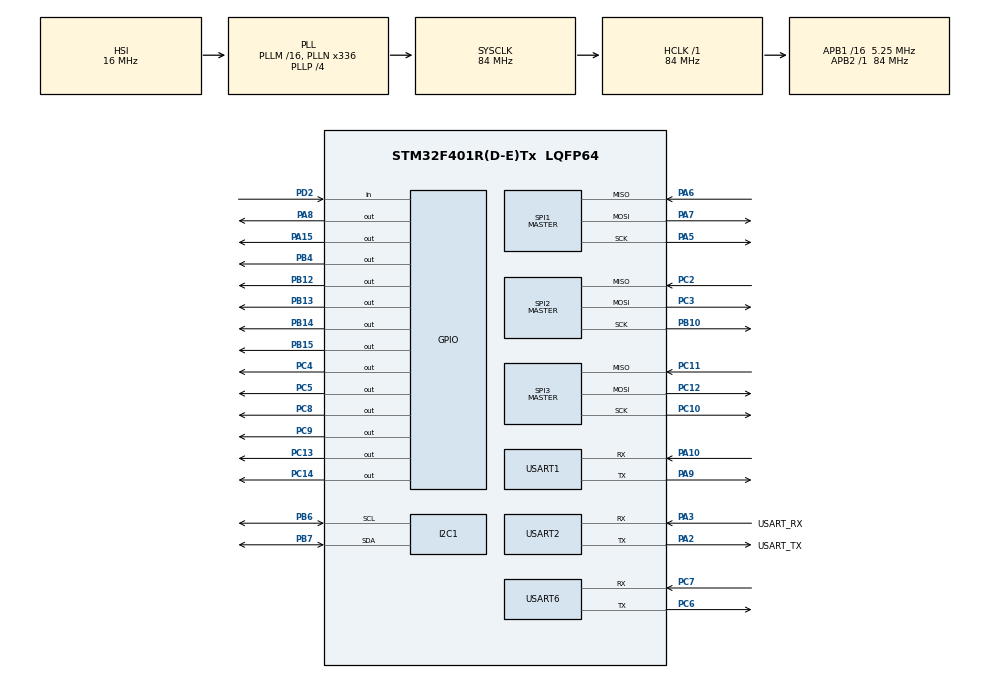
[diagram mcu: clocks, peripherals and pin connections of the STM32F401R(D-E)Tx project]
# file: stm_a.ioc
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Mcu.Family=STM32F4
Mcu.Name=STM32F401R(D-E)Tx
Mcu.Package=LQFP64
NVIC.PriorityGroup=NVIC_PRIORITYGROUP_0
NVIC.TIM2_IRQn=true\:0\:0\:false\:false\:true
NVIC.TIM5_IRQn=true\:0\:0\:false\:false\:true
PA10.Mode=Asynchronous
PA10.Signal=USART1_RX
PA13.GPIO_Label=TMS
PA13.Signal=SYS_JTMS-SWDIO
PA14.GPIO_Label=TCK
PA14.Signal=SYS_JTCK-SWCLK
PA15.Signal=GPIO_Output
PA2.GPIO_Label=USART_TX
PA2.GPIO_Mode=GPIO_MODE_AF_PP
PA2.GPIO_PuPd=GPIO_NOPULL
PA2.GPIO_Speed=GPIO_SPEED_FREQ_LOW
PA2.Mode=Asynchronous
PA2.Signal=USART2_TX
PA3.GPIO_Label=USART_RX
PA3.GPIO_Mode=GPIO_MODE_AF_PP
PA3.GPIO_PuPd=GPIO_NOPULL
PA3.GPIO_Speed=GPIO_SPEED_FREQ_LOW
PA3.Mode=Asynchronous
PA3.Signal=USART2_RX
PA5.Mode=Full_Duplex_Master
PA5.Signal=SPI1_SCK
PA6.Mode=Full_Duplex_Master
PA6.Signal=SPI1_MISO
PA7.Mode=Full_Duplex_Master
PA7.Signal=SPI1_MOSI
PA8.Signal=GPIO_Output
PA9.Mode=Asynchronous
PA9.Signal=USART1_TX
PB10.Mode=Full_Duplex_Master
PB10.Signal=SPI2_SCK
PB12.Signal=GPIO_Output
PB13.Signal=GPIO_Output
PB14.Signal=GPIO_Output
PB15.Signal=GPIO_Output
PB3.GPIO_Label=SWO
PB3.Signal=SYS_JTDO-SWO
PB4.Signal=GPIO_Output
PB6.Mode=I2C
PB6.Signal=I2C1_SCL
PB7.Mode=I2C
PB7.Signal=I2C1_SDA
PC10.Mode=Full_Duplex_Master
PC10.Signal=SPI3_SCK
PC11.Mode=Full_Duplex_Master
PC11.Signal=SPI3_MISO
PC12.Mode=Full_Duplex_Master
PC12.Signal=SPI3_MOSI
PC13-ANTI_TAMP.Signal=GPIO_Output
PC14-OSC32_IN.Signal=GPIO_Output
PC15-OSC32_OUT.Signal=RCC_OSC32_OUT
PC2.Mode=Full_Duplex_Master
PC2.Signal=SPI2_MISO
PC3.Mode=Full_Duplex_Master
PC3.Signal=SPI2_MOSI
PC4.Signal=GPIO_Output
PC5.Signal=GPIO_Output
PC6.Mode=Asynchronous
PC6.Signal=USART6_TX
PC7.Mode=Asynchronous
PC7.Signal=USART6_RX
PC8.Signal=GPIO_Output
PC9.Signal=GPIO_Output
PD2.Signal=GPIO_Input
PH0\ -\ OSC_IN.Signal=RCC_OSC_IN
PH1\ -\ OSC_OUT.Signal=RCC_OSC_OUT
ProjectManager.HeapSize=0x200
ProjectManager.StackSize=0x400
ProjectManager.TargetToolchain=SW4STM32
RCC.AHBFreq_Value=84000000
RCC.APB1CLKDivider=RCC_HCLK_DIV16
RCC.APB1Freq_Value=5250000
RCC.APB1TimFreq_Value=10500000
RCC.APB2Freq_Value=84000000
RCC.APB2TimFreq_Value=84000000
RCC.CortexFreq_Value=84000000
RCC.HCLKFreq_Value=84000000
RCC.HSE_VALUE=8000000
RCC.HSI_VALUE=16000000
RCC.LSE_VALUE=32768
RCC.PLLN=336
RCC.PLLP=RCC_PLLP_DIV4
RCC.PLLQ=7
RCC.SYSCLKFreq_VALUE=84000000
RCC.SYSCLKSource=RCC_SYSCLKSOURCE_PLLCLK
RCC.VCOOutputFreq_Value=336000000
SPI1.Direction=SPI_DIRECTION_2LINES
SPI1.Mode=SPI_MODE_MASTER
SPI1.VirtualType=VM_MASTER
SPI2.Direction=SPI_DIRECTION_2LINES
SPI2.Mode=SPI_MODE_MASTER
SPI2.VirtualType=VM_MASTER
SPI3.Direction=SPI_DIRECTION_2LINES
SPI3.Mode=SPI_MODE_MASTER
SPI3.VirtualType=VM_MASTER
TIM2.Period=9613
TIM2.Prescaler=65534
TIM5.Period=9613
TIM5.Prescaler=65534
USART1.VirtualMode=VM_ASYNC
USART2.VirtualMode=VM_ASYNC
USART6.VirtualMode=VM_ASYNC
VP_TIM2_VS_ClockSourceINT.Mode=Internal
VP_TIM5_VS_ClockSourceINT.Mode=Internal
board=NUCLEO-F401RE

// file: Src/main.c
/**
  ******************************************************************************
  * File Name          : main.c
  * Description        : Main program body
  ******************************************************************************
  ** This notice applies to any and all portions of this file
  * that are not between comment pairs USER CODE BEGIN and
  * USER CODE END. Other portions of this file, whether
  * inserted by the user or by software development tools
  * are owned by their respective copyright owners.
  *
  * COPYRIGHT(c) 2018 STMicroelectronics
  *
  * Redistribution and use in source and binary forms, with or without modification,
  * are permitted provided that the following conditions are met:
  *   1. Redistributions of source code must retain the above copyright notice,
  *      this list of conditions and the following disclaimer.
  *   2. Redistributions in binary form must reproduce the above copyright notice,
  *      this list of conditions and the following disclaimer in the documentation
  *      and/or other materials provided with the distribution.
  *   3. Neither the name of STMicroelectronics nor the names of its contributors
  *      may be used to endorse or promote products derived from this software
  *      without specific prior written permission.
  *
  * THIS SOFTWARE IS PROVIDED BY THE COPYRIGHT HOLDERS AND CONTRIBUTORS "AS IS"
  * AND ANY EXPRESS OR IMPLIED WARRANTIES, INCLUDING, BUT NOT LIMITED TO, THE
  * IMPLIED WARRANTIES OF MERCHANTABILITY AND FITNESS FOR A PARTICULAR PURPOSE ARE
  * DISCLAIMED. IN NO EVENT SHALL THE COPYRIGHT HOLDER OR CONTRIBUTORS BE LIABLE
  * FOR ANY DIRECT, INDIRECT, INCIDENTAL, SPECIAL, EXEMPLARY, OR CONSEQUENTIAL
  * DAMAGES (INCLUDING, BUT NOT LIMITED TO, PROCUREMENT OF SUBSTITUTE GOODS OR
  * SERVICES; LOSS OF USE, DATA, OR PROFITS; OR BUSINESS INTERRUPTION) HOWEVER
  * CAUSED AND ON ANY THEORY OF LIABILITY, WHETHER IN CONTRACT, STRICT LIABILITY,
  * OR TORT (INCLUDING NEGLIGENCE OR OTHERWISE) ARISING IN ANY WAY OUT OF THE USE
  * OF THIS SOFTWARE, EVEN IF ADVISED OF THE POSSIBILITY OF SUCH DAMAGE.
  *
  ******************************************************************************
  */
#include "main.h"
#include "stm32f4xx_hal.h"
#include "a_comparison.h"
#include "comms.h"
#include "payload.h"
#include "eps.h"
#include <stdlib.h>

I2C_HandleTypeDef hi2c1;

SPI_HandleTypeDef hspi1;
SPI_HandleTypeDef hspi2;
SPI_HandleTypeDef hspi3;

TIM_HandleTypeDef htim2; //Ground timer
TIM_HandleTypeDef htim5; //Picture timer

UART_HandleTypeDef huart1;
UART_HandleTypeDef huart2;
UART_HandleTypeDef huart6;

/* USER CODE BEGIN PV */
/* Private variables ---------------------------------------------------------*/
#define BUS_FREQUENCY 10500000
#define PRESCALER 65534

#define ONDELAY 500

struct tempBuffers {
	uint8_t telemEPS;
	uint8_t telemEPS_lastIndex;

	uint8_t telemADCS;
	uint8_t telemADCS_lastIndex;

	uint8_t telemPayload;
	uint8_t telemPayload_lastIndex;

	uint8_t telemComms;
	uint8_t telemComms_lastIndex;

	uint8_t codeNavigation;
} tempBuffers;
int volatile payloadOn = 0;

/* USER CODE END PV */

void SystemClock_Config(void);
static void MX_GPIO_Init(void);
static void MX_SPI2_Init(void);
static void MX_SPI3_Init(void);
static void MX_SPI1_Init(void);
static void MX_I2C1_Init(void);
static void MX_USART2_UART_Init(void);
static void MX_USART1_UART_Init(void);
static void MX_USART6_UART_Init(void);
static void MX_TIM2_Init(void);
static void MX_TIM5_Init(void);

/* USER CODE BEGIN PFP */
/* Private function prototypes -----------------------------------------------*/
void sendPacketToComms(uint8_t adr, uint8_t flg, uint8_t *data, uint8_t packetLen);
void seconds_to_timer_period(uint16_t seconds, int timer);
void MX_TIM2_Change_Period(int period);
void MX_TIM5_Change_Period(int period);
/* USER CODE END PFP */

int main(void)
{

	/* MCU Configuration----------------------------------------------------------*/

	/* Reset of all peripherals, Initializes the Flash interface and the Systick. */
	HAL_Init();

	/* Configure the system clock */
	SystemClock_Config();

	/* Initialize all configured peripherals */
	MX_GPIO_Init();
	MX_SPI2_Init();
	MX_SPI3_Init();
	MX_SPI1_Init();
	MX_I2C1_Init();
	MX_USART2_UART_Init();
	MX_USART1_UART_Init();
	MX_USART6_UART_Init();
	MX_TIM2_Init();
	MX_TIM5_Init();

	/* USER CODE BEGIN 2 */
	//COMMS Related Variables
	uint8_t *buf = malloc(PACKET_SIZE);
	uint8_t adr = 0;
	uint8_t flg = 0;
	uint8_t len_command = 0;
	uint8_t commandLength = 0;

	//Payload Related Variables
	commandQue = initQueue(commandQue);
	errors = initQueue(errors);

	uint16_t time_until_picture;
	uint8_t data[16];
	char commandPayload[30];

	printStringToConsole("CDH Start\n\n");

	/* USER CODE END 2 */

	/* Over Ground loop*/
	for (int i = 0; i < 3; i++) {
		clearArray(buf, 256);
		memset((char*)data,'\0',sizeof(data));

		//Check receive packet
		commandLength = receive_packet(buf, data);

		printStringToConsole("Uplink packet received\n");
		if(parse_packet(buf, &adr, &flg, &len_command)) {
			printStringToConsole("Uplink packet was parsed\n");

			switch(adr) {

			case 0x00: //CDH Command
				break;

			case 0x01: //Payload Command
				if(flg == 0) {
					switch(len_command) {
					case 0x00:
						printStringToConsole("Take picture command received\n");

						//time_until_picture = ((uint16_t)data[0] * 256) + (uint16_t)data[1]; //in seconds
						//seconds_to_timer_period(time_until_picture, 5);

						//Add take picture command to payload queue
						enqueue(createMessage(TAKE_PHOTO, 16, (data)), commandQue);
						break;

					case 0x01:
						printStringToConsole("Execute script command received\n");

						strcpy(commandPayload, "exec/identify_fire ");
						strcpy(commandPayload + 19, data);

						printStringToConsole(commandPayload);
						printStringToConsole("\n");

						enqueue(createMessage(EXECUTE_COMMAND, strlen(commandPayload), (uint8_t *)commandPayload), commandQue);
						break;

					case 0x02:
						printStringToConsole("File download command received\n");

						strcpy(commandPayload, "output/");
						strcpy(commandPayload + 7, data);

						if(data[8] == 0)
							strcpy(commandPayload + 15, ".txt");
						else
							strcpy(commandPayload + 15, ".jpg");

						printStringToConsole(commandPayload);
						printStringToConsole("\n");

						enqueue(createMessage(START_DOWNLOAD, strlen(commandPayload), (uint8_t*)commandPayload), commandQue);
						break;
					}
				}
				break;

			case 0x02: //ADCS Command
				break;

			case 0x03: //EPS Command
				break;
			}
		}
	}

/*	uint64_t photoTime = 500000;
	uint8_t *tempTime = (uint8_t*) &photoTime;
	char photoID[] = "000fire0";

	for(int i = 0;i<8;i++)
		commandPayload[i] = tempTime[i];
	strcpy(commandPayload +8, photoID);

	enqueue(createMessage(TAKE_PHOTO, 16, (uint8_t*)commandPayload), commandQue);
*/
/*	strcpy(commandPayload, "exec/identify_fire 000fire0");
	enqueue(createMessage(EXECUTE_COMMAND, 27, (uint8_t *)commandPayload), commandQue);
	free(commandPayload);

*/

	/*strcpy(commandPayload, "output/000fire0.jpg");
	enqueue(createMessage(START_DOWNLOAD, strlen(commandPayload), (uint8_t*)commandPayload), commandQue);
*/
	//Payload command loop (while not above ground)
	while (1) {
		/* Check if command queue is empty */
		if(commandQue->numMessages > 0)
			command = peekQueue(commandQue);
		else{
			printStringToConsole("\nAll payload commands complete\n");
			HAL_Delay(1000); // Empty command queue - exit loop
			break;
		}

		/* Save message details */
		uint8_t comcode = command->code;
		uint16_t datalen = command->payloadLen;

		/* Send Header -----------------*/
		sendmHeader(command);
		printStringToConsole("Sent command to payload\n");

		/* Send Data ----------------*/
		if(datalen > 0) {
			sendData(command->payload, datalen);
			printStringToConsole("Sent data to payload\n");
		}

		/* Command-Specific Response Handling --------------------*/
		// Receive reply -> Parse Reply -> Handle Errors -> Dequeue message
		uint8_t reply;
		uint8_t header[2];
		uint8_t packetData[256];
		switch(comcode){
			reply = 2;
			case START_DOWNLOAD:
				// Receive and parse success/error
				while(HAL_UART_Receive(&huart6, &reply, 1, RX_DELAY) != HAL_OK);

				if(handleError(errors, command, &reply))
					break;

				printStringToConsole("Successfully started download\n");

				enqueue(createMessage(REQUEST_PACKET, 0, (uint8_t*)&reply), commandQue);
				printStringToConsole("Enqueue first packet\n\n");
				break;

			case REQUEST_PACKET:
				while(HAL_UART_Receive(&huart6, &reply, 1, RX_DELAY) != HAL_OK);

				if(reply == 0 || reply == 1) {
					// If no error, parse packet length and receive the packet
					while(HAL_UART_Receive(&huart6, header, 2, RX_DELAY) != HAL_OK);
					HAL_UART_Receive(&huart6, packetData, header[1], RX_DELAY);

					printStringToConsole("One packet downloaded\n");

					// Save data
					sendPacketToComms(0x01, 0x02, data, header[1]);

					enqueue(createMessage(REQUEST_PACKET, 0, (uint8_t*)&reply), commandQue);
					printStringToConsole("Enqueue next packet\n\n");
				} else if(reply == 7) {
					printStringToConsole("Download Complete!\n");
					break;
				} else {
					handleError(errors, command, &reply);
					char temp[5];
					itoa(reply, temp,10);
					printStringToConsole(temp);
				}
				break;

			case START_UPLOAD:
				while(HAL_UART_Receive(&huart6, &reply, 1, RX_DELAY) != HAL_OK);
				if(handleError(errors, command, &reply))
				  break;
				// Refresh upload index to match start of the file
				upload_index = 0;
				printStringToConsole("Successfully started upload\n");
				break;

			case SEND_PACKET:
				while(HAL_UART_Receive(&huart6, &reply, 1, RX_DELAY) != HAL_OK);
			    if(handleError(errors, command, &reply))
				    break;
			    else // If no error, increment index of file being read (track progress of reading)
				    upload_index += datalen;
			    printStringToConsole("One packet uploaded\n");
			    break;

			case CANCEL_UPLOAD:
				while(HAL_UART_Receive(&huart6, &reply, 1, RX_DELAY) != HAL_OK);
			  	handleError(errors, command, &reply);
			  	break;

			case FINALIZE_UPLOAD:
				while(HAL_UART_Receive(&huart6, &reply, 1, RX_DELAY) != HAL_OK);
				break;

			case TAKE_PHOTO:
				while(HAL_UART_Receive(&huart6, &reply, 1, RX_DELAY) != HAL_OK);
				if(handleError(errors, command, &reply))
					break;
				printStringToConsole("Photo taken\n");
				break;

			case EXECUTE_COMMAND:
				while(HAL_UART_Receive(&huart6, &reply, 1, RX_DELAY) != HAL_OK);
				if(handleError(errors, command, &reply))
					break;

				printStringToConsole("Execute script command\n");
				break;
		}
		dequeue(commandQue);
		HAL_Delay(COMMAND_DELAY);
	}

	/* USER CODE END 3 */
}

void sendPacketToComms(uint8_t adr, uint8_t flg, uint8_t *data, uint8_t packetLen) {
	uint8_t header = 0b01100000 | (adr << 1) | flg;
	uint8_t packetToSend[PACKET_SIZE];
	packetToSend[0] = header;
	packetToSend[1] = packetLen;

	for(int i = 0; i < packetLen; i++) {
		packetToSend[i+2] = data[i];
	}

	HAL_UART_Transmit(&huart1, packetToSend, packetLen+2, 0x0FFF);
	printStringToConsole("Downlink packet sent\n");
}

/** System Clock Configuration
*/
void SystemClock_Config(void)
{

	RCC_OscInitTypeDef RCC_OscInitStruct;
	RCC_ClkInitTypeDef RCC_ClkInitStruct;

	/**Configure the main internal regulator output voltage
	*/
	__HAL_RCC_PWR_CLK_ENABLE();

	__HAL_PWR_VOLTAGESCALING_CONFIG(PWR_REGULATOR_VOLTAGE_SCALE2);

	/**Initializes the CPU, AHB and APB busses clocks
	*/
	RCC_OscInitStruct.OscillatorType = RCC_OSCILLATORTYPE_HSI;
	RCC_OscInitStruct.HSIState = RCC_HSI_ON;
	RCC_OscInitStruct.HSICalibrationValue = 16;
	RCC_OscInitStruct.PLL.PLLState = RCC_PLL_ON;
	RCC_OscInitStruct.PLL.PLLSource = RCC_PLLSOURCE_HSI;
	RCC_OscInitStruct.PLL.PLLM = 16;
	RCC_OscInitStruct.PLL.PLLN = 336;
	RCC_OscInitStruct.PLL.PLLP = RCC_PLLP_DIV4;
	RCC_OscInitStruct.PLL.PLLQ = 7;
	if (HAL_RCC_OscConfig(&RCC_OscInitStruct) != HAL_OK)
	{
	_Error_Handler(__FILE__, __LINE__);
	}

	/**Initializes the CPU, AHB and APB busses clocks
	*/
	RCC_ClkInitStruct.ClockType = RCC_CLOCKTYPE_HCLK|RCC_CLOCKTYPE_SYSCLK
							  |RCC_CLOCKTYPE_PCLK1|RCC_CLOCKTYPE_PCLK2;
	RCC_ClkInitStruct.SYSCLKSource = RCC_SYSCLKSOURCE_PLLCLK;
	RCC_ClkInitStruct.AHBCLKDivider = RCC_SYSCLK_DIV1;
	RCC_ClkInitStruct.APB1CLKDivider = RCC_HCLK_DIV16;
	RCC_ClkInitStruct.APB2CLKDivider = RCC_HCLK_DIV1;

	if (HAL_RCC_ClockConfig(&RCC_ClkInitStruct, FLASH_LATENCY_2) != HAL_OK)
	{
	_Error_Handler(__FILE__, __LINE__);
	}

	/**Configure the Systick interrupt time
	*/
	HAL_SYSTICK_Config(HAL_RCC_GetHCLKFreq()/1000);

	/**Configure the Systick
	*/
	HAL_SYSTICK_CLKSourceConfig(SYSTICK_CLKSOURCE_HCLK);

	/* SysTick_IRQn interrupt configuration */
	HAL_NVIC_SetPriority(SysTick_IRQn, 0, 0);
}

/* I2C1 init function */
static void MX_I2C1_Init(void)
{

	hi2c1.Instance = I2C1;
	hi2c1.Init.ClockSpeed = 100000;
	hi2c1.Init.DutyCycle = I2C_DUTYCYCLE_2;
	hi2c1.Init.OwnAddress1 = 0;
	hi2c1.Init.AddressingMode = I2C_ADDRESSINGMODE_7BIT;
	hi2c1.Init.DualAddressMode = I2C_DUALADDRESS_DISABLE;
	hi2c1.Init.OwnAddress2 = 0;
	hi2c1.Init.GeneralCallMode = I2C_GENERALCALL_DISABLE;
	hi2c1.Init.NoStretchMode = I2C_NOSTRETCH_DISABLE;
	if (HAL_I2C_Init(&hi2c1) != HAL_OK)
	{
	_Error_Handler(__FILE__, __LINE__);
	}

}

/* SPI1 init function */
static void MX_SPI1_Init(void)
{

	hspi1.Instance = SPI1;
	hspi1.Init.Mode = SPI_MODE_MASTER;
	hspi1.Init.Direction = SPI_DIRECTION_2LINES;
	hspi1.Init.DataSize = SPI_DATASIZE_8BIT;
	hspi1.Init.CLKPolarity = SPI_POLARITY_LOW;
	hspi1.Init.CLKPhase = SPI_PHASE_1EDGE;
	hspi1.Init.NSS = SPI_NSS_SOFT;
	hspi1.Init.BaudRatePrescaler = SPI_BAUDRATEPRESCALER_2;
	hspi1.Init.FirstBit = SPI_FIRSTBIT_MSB;
	hspi1.Init.TIMode = SPI_TIMODE_DISABLE;
	hspi1.Init.CRCCalculation = SPI_CRCCALCULATION_DISABLE;
	hspi1.Init.CRCPolynomial = 10;
	if (HAL_SPI_Init(&hspi1) != HAL_OK)
	{
	_Error_Handler(__FILE__, __LINE__);
	}

}

/* SPI2 init function */
static void MX_SPI2_Init(void)
{

	hspi2.Instance = SPI2;
	hspi2.Init.Mode = SPI_MODE_MASTER;
	hspi2.Init.Direction = SPI_DIRECTION_2LINES;
	hspi2.Init.DataSize = SPI_DATASIZE_8BIT;
	hspi2.Init.CLKPolarity = SPI_POLARITY_LOW;
	hspi2.Init.CLKPhase = SPI_PHASE_1EDGE;
	hspi2.Init.NSS = SPI_NSS_SOFT;
	hspi2.Init.BaudRatePrescaler = SPI_BAUDRATEPRESCALER_2;
	hspi2.Init.FirstBit = SPI_FIRSTBIT_MSB;
	hspi2.Init.TIMode = SPI_TIMODE_DISABLE;
	hspi2.Init.CRCCalculation = SPI_CRCCALCULATION_DISABLE;
	hspi2.Init.CRCPolynomial = 10;
	if (HAL_SPI_Init(&hspi2) != HAL_OK)
	{
	_Error_Handler(__FILE__, __LINE__);
	}

}

/* SPI3 init function */
static void MX_SPI3_Init(void)
{

	hspi3.Instance = SPI3;
	hspi3.Init.Mode = SPI_MODE_MASTER;
	hspi3.Init.Direction = SPI_DIRECTION_2LINES;
	hspi3.Init.DataSize = SPI_DATASIZE_8BIT;
	hspi3.Init.CLKPolarity = SPI_POLARITY_LOW;
	hspi3.Init.CLKPhase = SPI_PHASE_1EDGE;
	hspi3.Init.NSS = SPI_NSS_SOFT;
	hspi3.Init.BaudRatePrescaler = SPI_BAUDRATEPRESCALER_2;
	hspi3.Init.FirstBit = SPI_FIRSTBIT_MSB;
	hspi3.Init.TIMode = SPI_TIMODE_DISABLE;
	hspi3.Init.CRCCalculation = SPI_CRCCALCULATION_DISABLE;
	hspi3.Init.CRCPolynomial = 10;
	if (HAL_SPI_Init(&hspi3) != HAL_OK)
	{
	_Error_Handler(__FILE__, __LINE__);
	}

}

/* TIM2 init function */
static void MX_TIM2_Init(void)
{

  TIM_ClockConfigTypeDef sClockSourceConfig;
  TIM_MasterConfigTypeDef sMasterConfig;

  htim2.Instance = TIM2;
  htim2.Init.Prescaler = 65534;
  htim2.Init.CounterMode = TIM_COUNTERMODE_UP;
  htim2.Init.Period = 9613;						//Default timer time is 1min
  htim2.Init.ClockDivision = TIM_CLOCKDIVISION_DIV1;
  if (HAL_TIM_Base_Init(&htim2) != HAL_OK)
  {
    _Error_Handler(__FILE__, __LINE__);
  }

  sClockSourceConfig.ClockSource = TIM_CLOCKSOURCE_INTERNAL;
  if (HAL_TIM_ConfigClockSource(&htim2, &sClockSourceConfig) != HAL_OK)
  {
    _Error_Handler(__FILE__, __LINE__);
  }

  sMasterConfig.MasterOutputTrigger = TIM_TRGO_RESET;
  sMasterConfig.MasterSlaveMode = TIM_MASTERSLAVEMODE_DISABLE;
  if (HAL_TIMEx_MasterConfigSynchronization(&htim2, &sMasterConfig) != HAL_OK)
  {
    _Error_Handler(__FILE__, __LINE__);
  }

}

/* TIM5 init function */
static void MX_TIM5_Init(void)
{

  TIM_ClockConfigTypeDef sClockSourceConfig;
  TIM_MasterConfigTypeDef sMasterConfig;

  htim5.Instance = TIM5;
  htim5.Init.Prescaler = 65534;
  htim5.Init.CounterMode = TIM_COUNTERMODE_UP;
  htim5.Init.Period = 9613;						//Default timer time is 1min
  htim5.Init.ClockDivision = TIM_CLOCKDIVISION_DIV1;
  if (HAL_TIM_Base_Init(&htim5) != HAL_OK)
  {
    _Error_Handler(__FILE__, __LINE__);
  }

  sClockSourceConfig.ClockSource = TIM_CLOCKSOURCE_INTERNAL;
  if (HAL_TIM_ConfigClockSource(&htim5, &sClockSourceConfig) != HAL_OK)
  {
    _Error_Handler(__FILE__, __LINE__);
  }

  sMasterConfig.MasterOutputTrigger = TIM_TRGO_RESET;
  sMasterConfig.MasterSlaveMode = TIM_MASTERSLAVEMODE_DISABLE;
  if (HAL_TIMEx_MasterConfigSynchronization(&htim5, &sMasterConfig) != HAL_OK)
  {
    _Error_Handler(__FILE__, __LINE__);
  }

}

/* USART1 init function */
static void MX_USART1_UART_Init(void)
{

  huart1.Instance = USART1;
  huart1.Init.BaudRate = 115200;
  huart1.Init.WordLength = UART_WORDLENGTH_8B;
  huart1.Init.StopBits = UART_STOPBITS_1;
  huart1.Init.Parity = UART_PARITY_NONE;
  huart1.Init.Mode = UART_MODE_TX_RX;
  huart1.Init.HwFlowCtl = UART_HWCONTROL_NONE;
  huart1.Init.OverSampling = UART_OVERSAMPLING_16;
  if (HAL_UART_Init(&huart1) != HAL_OK)
  {
    _Error_Handler(__FILE__, __LINE__);
  }

}

/* USART2 init function */
static void MX_USART2_UART_Init(void)
{

  huart2.Instance = USART2;
  huart2.Init.BaudRate = 115200;
  huart2.Init.WordLength = UART_WORDLENGTH_8B;
  huart2.Init.StopBits = UART_STOPBITS_1;
  huart2.Init.Parity = UART_PARITY_NONE;
  huart2.Init.Mode = UART_MODE_TX_RX;
  huart2.Init.HwFlowCtl = UART_HWCONTROL_NONE;
  huart2.Init.OverSampling = UART_OVERSAMPLING_16;
  if (HAL_UART_Init(&huart2) != HAL_OK)
  {
    _Error_Handler(__FILE__, __LINE__);
  }

}

/* USART6 init function */
static void MX_USART6_UART_Init(void)
{

  huart6.Instance = USART6;
  huart6.Init.BaudRate = 115200;
  huart6.Init.WordLength = UART_WORDLENGTH_8B;
  huart6.Init.StopBits = UART_STOPBITS_1;
  huart6.Init.Parity = UART_PARITY_NONE;
  huart6.Init.Mode = UART_MODE_TX_RX;
  huart6.Init.HwFlowCtl = UART_HWCONTROL_NONE;
  huart6.Init.OverSampling = UART_OVERSAMPLING_16;
  if (HAL_UART_Init(&huart6) != HAL_OK)
  {
    _Error_Handler(__FILE__, __LINE__);
  }

}

/** Configure pins as
        * Analog
        * Input
        * Output
        * EVENT_OUT
        * EXTI
*/
static void MX_GPIO_Init(void)
{

  GPIO_InitTypeDef GPIO_InitStruct;

  /* GPIO Ports Clock Enable */
  __HAL_RCC_GPIOC_CLK_ENABLE();
  __HAL_RCC_GPIOH_CLK_ENABLE();
  __HAL_RCC_GPIOA_CLK_ENABLE();
  __HAL_RCC_GPIOB_CLK_ENABLE();
  __HAL_RCC_GPIOD_CLK_ENABLE();

  /*Configure GPIO pin Output Level */
  HAL_GPIO_WritePin(GPIOC, GPIO_PIN_14|GPIO_PIN_9, GPIO_PIN_SET);

  HAL_GPIO_WritePin(GPIOC, GPIO_PIN_13|GPIO_PIN_4|GPIO_PIN_5
                           |GPIO_PIN_8 , GPIO_PIN_RESET);

  /*Configure GPIO pin Output Level */
  HAL_GPIO_WritePin(GPIOB, GPIO_PIN_12|GPIO_PIN_13|GPIO_PIN_14|GPIO_PIN_15
                          |GPIO_PIN_4, GPIO_PIN_RESET);

  /*Configure GPIO pin Output Level */
  HAL_GPIO_WritePin(GPIOA, GPIO_PIN_8|GPIO_PIN_15, GPIO_PIN_RESET);

  /*Configure GPIO pins : PC13 PC14 PC4 PC5
                           PC8 PC9 */
  GPIO_InitStruct.Pin = GPIO_PIN_13|GPIO_PIN_14|GPIO_PIN_4|GPIO_PIN_5
                          |GPIO_PIN_8|GPIO_PIN_9;
  GPIO_InitStruct.Mode = GPIO_MODE_OUTPUT_PP;
  GPIO_InitStruct.Pull = GPIO_NOPULL;
  GPIO_InitStruct.Speed = GPIO_SPEED_FREQ_LOW;
  HAL_GPIO_Init(GPIOC, &GPIO_InitStruct);

  /*Configure GPIO pins : PB12 PB13 PB14 PB15
                           PB4 */
  GPIO_InitStruct.Pin = GPIO_PIN_12|GPIO_PIN_13|GPIO_PIN_14|GPIO_PIN_15
                          |GPIO_PIN_4;
  GPIO_InitStruct.Mode = GPIO_MODE_OUTPUT_PP;
  GPIO_InitStruct.Pull = GPIO_NOPULL;
  GPIO_InitStruct.Speed = GPIO_SPEED_FREQ_LOW;
  HAL_GPIO_Init(GPIOB, &GPIO_InitStruct);

  /*Configure GPIO pins : PA8 PA15 */
  GPIO_InitStruct.Pin = GPIO_PIN_8|GPIO_PIN_15;
  GPIO_InitStruct.Mode = GPIO_MODE_OUTPUT_PP;
  GPIO_InitStruct.Pull = GPIO_NOPULL;
  GPIO_InitStruct.Speed = GPIO_SPEED_FREQ_LOW;
  HAL_GPIO_Init(GPIOA, &GPIO_InitStruct);

  /*Configure GPIO pin : PD2 */
  GPIO_InitStruct.Pin = GPIO_PIN_2;
  GPIO_InitStruct.Mode = GPIO_MODE_INPUT;
  GPIO_InitStruct.Pull = GPIO_NOPULL;
  HAL_GPIO_Init(GPIOD, &GPIO_InitStruct);

}

/* USER CODE BEGIN 4 */

/*
 * Changes the timer period to trigger after a set number of seconds
 * Params: seconds - number of seconds between each interrupt
 */
void seconds_to_timer_period(uint16_t seconds, int timer) {
    int period = seconds*BUS_FREQUENCY/PRESCALER;

    if(timer == 2)
    	MX_TIM2_Change_Period(period);
    else if(timer == 5)
    	MX_TIM5_Change_Period(period);
}

void MX_TIM2_Change_Period(int period) {
	htim2.Init.Period = period;
	HAL_TIM_Base_Start_IT(&htim2);
	if (HAL_TIM_Base_Init(&htim2) != HAL_OK) //somehow necessary, not sure why
	{
		_Error_Handler(__FILE__, __LINE__);
	}
}

void MX_TIM5_Change_Period(int period) {
	htim5.Init.Period = period;
	HAL_TIM_Base_Start_IT(&htim5);
	if (HAL_TIM_Base_Init(&htim5) != HAL_OK) //somehow necessary, not sure why
	{
		_Error_Handler(__FILE__, __LINE__);
	}
}

/* USER CODE END 4 */

void _Error_Handler(char * file, int line)
{
  while(1)
  {
  }
}

/************************ (C) COPYRIGHT STMicroelectronics *****END OF FILE****/
